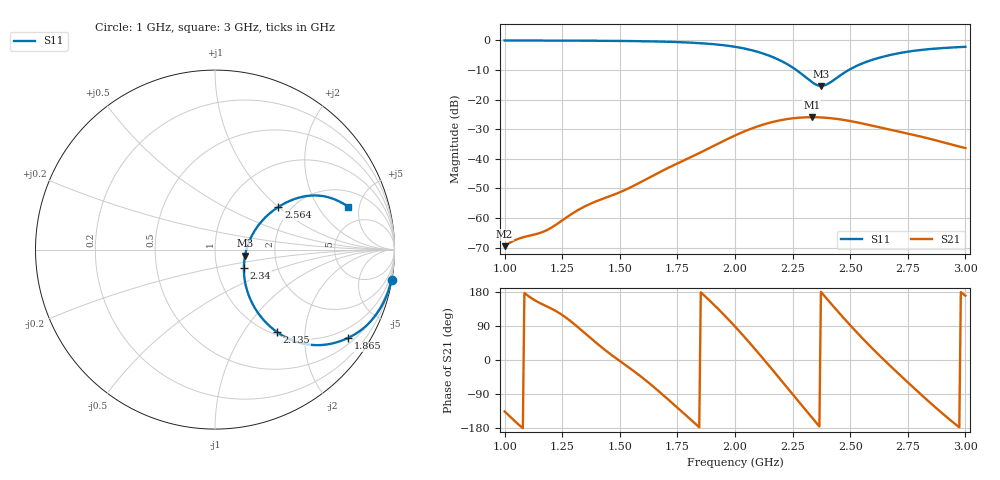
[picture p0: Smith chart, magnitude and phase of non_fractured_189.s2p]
! TOUCHSTONE file generated by CST MICROWAVE STUDIO
! Date and time: Sat Mar  8 13:55:19 2025
! Project name: non_fractured.cst
! Parameters = {B=2.5; D=160; F=10; Feed=2.85625; L=100; M=20; R=0.384908; S=2.5; Theta=0; length=57.125; wave=114.25}
! Header version: 2024
! Port assignment regex: !\s*Touchstone port\s*([0-9]+)\s*=\s*(CST MWS port|CST DES external port|CST DES block port)\s*(.+)\s* \(\"(.*)\"\)(\s*mode\s*([0-9]+))?.*
! Touchstone port assignment:
! Touchstone port 1 = CST MWS port 1 ("")
! Touchstone port 2 = CST MWS port 2 ("")
# GHz S DB R 50
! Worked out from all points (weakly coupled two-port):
!   304 points, 1 GHz to 3 GHz, reference 50 ohm
!   highest |S21| = -25.93 dB at 2.333 GHz (marker M1); lowest = -69.5 dB at 1 GHz (marker M2)
!   lowest |S11| = -15.4 dB at 2.373 GHz (marker M3), VSWR 1.41, Z = 69.9 - j4.9 ohm
!   |S11| at or under -10 dB: 2.266 GHz to 2.494 GHz (227.4 MHz wide, 9.56 % of centre)
!   S12 and S22 are empty: the file has one direction only
!   S11 on the Smith chart (normalised r, x): 1 GHz: 0, -12; 1.865 GHz: 0.68, -3.17; 2.135 GHz: 1.05, -1.44; 2.34 GHz: 1.35, -0.29; 2.564 GHz: 1.72, +1.00; 3 GHz: 3.17, +3.86
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1  -0.02 -9.8  -69.49 -135.7  -200.00 0.0  -200.00 0.0
1.05941  -0.03 -10.6  -67.00 -169.7  -200.00 0.0  -200.00 0.0
1.14521  -0.04 -11.8  -65.23 152.8  -200.00 0.0  -200.00 0.0
1.18482  -0.05 -12.4  -64.02 141.0  -200.00 0.0  -200.00 0.0
1.33663  -0.09 -15.2  -56.51 77.1  -200.00 0.0  -200.00 0.0
1.52145  -0.20 -19.5  -50.56 -12.0  -200.00 0.0  -200.00 0.0
1.66667  -0.38 -24.2  -44.72 -81.2  -200.00 0.0  -200.00 0.0
1.76568  -0.61 -28.4  -40.99 -134.2  -200.00 0.0  -200.00 0.0
1.86469  -1.02 -33.7  -37.30 171.3  -200.00 0.0  -200.00 0.0
2.0033  -2.20 -43.3  -31.99 86.3  -200.00 0.0  -200.00 0.0
2.06931  -3.26 -48.4  -29.84 41.2  -200.00 0.0  -200.00 0.0
2.13531  -4.79 -53.0  -28.13 -6.0  -200.00 0.0  -200.00 0.0
2.23432  -8.37 -55.6  -26.48 -78.6  -200.00 0.0  -200.00 0.0
2.33333  -14.05 -35.8  -25.93 -151.5  -200.00 0.0  -200.00 0.0
2.33993  -14.40 -32.5  -25.94 -156.3  -200.00 0.0  -200.00 0.0
2.37294  -15.36 -11.5  -26.01 179.9  -200.00 0.0  -200.00 0.0
2.40594  -14.56 9.3  -26.20 156.3  -200.00 0.0  -200.00 0.0
2.47195  -11.03 29.6  -26.86 110.5  -200.00 0.0  -200.00 0.0
2.56436  -7.42 33.9  -28.26 50.2  -200.00 0.0  -200.00 0.0
2.66997  -4.99 31.4  -30.10 -13.3  -200.00 0.0  -200.00 0.0
2.82838  -3.05 24.2  -32.89 -102.6  -200.00 0.0  -200.00 0.0
3  -2.17 17.9  -36.35 169.8  -200.00 0.0  -200.00 0.0
